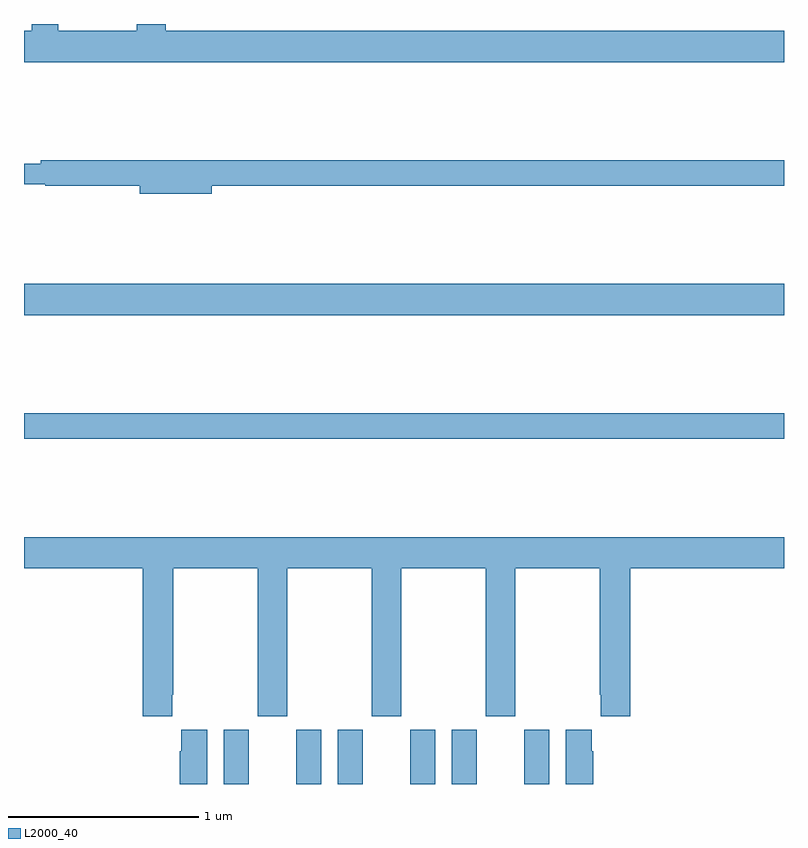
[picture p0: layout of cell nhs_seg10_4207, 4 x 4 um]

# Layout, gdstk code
import gdstk
lib = gdstk.Library(unit=1e-6, precision=1e-09)
def R(c, l, rs):  # rectangles x0, y0, x1, y1
    for r in rs: c.add(gdstk.rectangle(r[:2], r[2:], *l))
def P(c, l, *ps):  # polygons
    for p in ps: c.add(gdstk.Polygon(p, *l))
L2000_40 = (2000, 40)

nhs_seg10_4207 = lib.new_cell('nhs_seg10_4207')
R(nhs_seg10_4207, L2000_40, [(346.052,1312.5,346.183,1312.786), (346.433,1312.5,346.564,1312.786), (346.652,1312.5,346.783,1312.786), (347.033,1312.5,347.164,1312.786), (347.252,1312.5,347.383,1312.786), (347.633,1312.5,347.764,1312.786), (345,1314.316,349,1314.452), (345,1314.968,349,1315.132)])
P(nhs_seg10_4207, L2000_40, [(349,1316.464),(345.746,1316.464),(345.746,1316.5),(345.593,1316.5),(345.593,1316.464),(345.181,1316.464),(345.181,1316.5),(345.041,1316.5),(345.041,1316.464),(345,1316.464),(345,1316.3),(349,1316.3)],
  [(345.988,1315.648),(349,1315.648),(349,1315.784),(345.088,1315.784),(345.088,1315.765),(345,1315.765),(345,1315.656),(345.112,1315.656),(345.112,1315.648),(345.608,1315.648),(345.608,1315.606),(345.988,1315.606)],
  [(345.781,1312.969),(345.786,1312.969),(345.786,1313.636),(346.231,1313.636),(346.231,1312.857),(346.386,1312.857),(346.386,1313.636),(346.831,1313.636),(346.831,1312.857),(346.986,1312.857),(346.986,1313.636),(347.431,1313.636),(347.431,1312.857),(347.586,1312.857),(347.586,1313.636),(348.031,1313.636),(348.031,1312.969),(348.035,1312.969),(348.035,1312.857),(348.191,1312.857),(348.191,1313.636),(349,1313.636),(349,1313.8),(345,1313.8),(345,1313.636),(345.626,1313.636),(345.626,1312.857),(345.781,1312.857)],
  [(345.964,1312.786),(345.827,1312.786),(345.827,1312.673),(345.821,1312.673),(345.821,1312.5),(345.964,1312.5)],
  [(347.996,1312.673),(347.989,1312.673),(347.989,1312.786),(347.852,1312.786),(347.852,1312.5),(347.996,1312.5)])

lib.write_gds('nhs_seg10_4207.gds')
